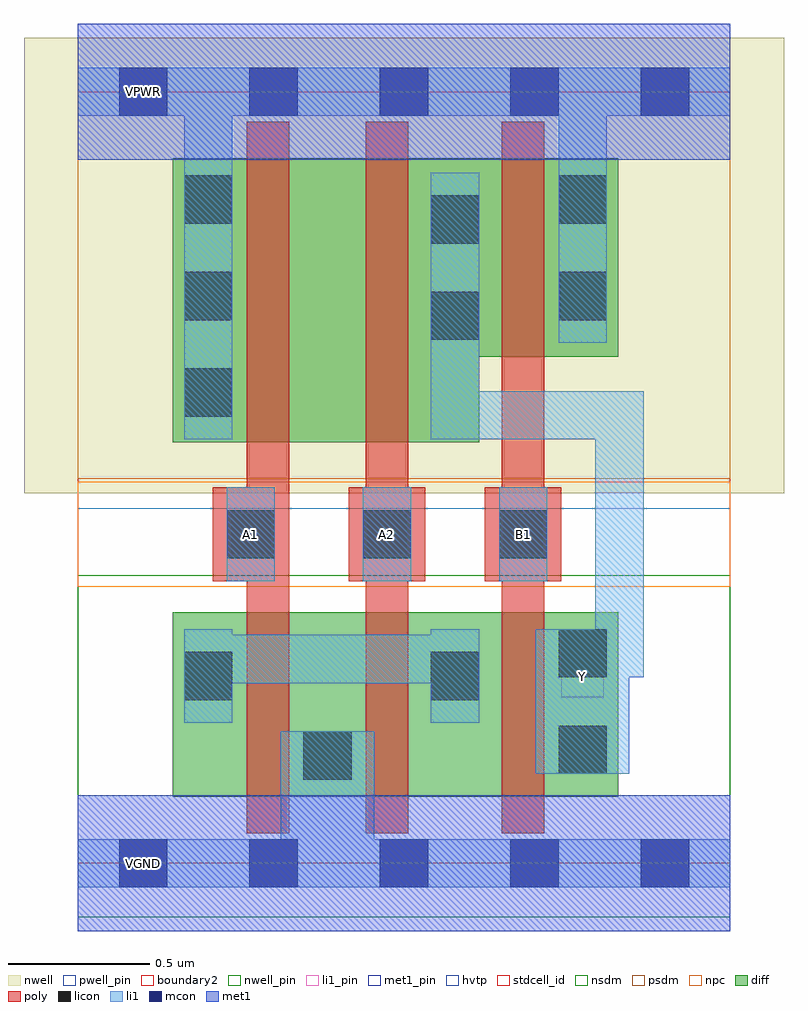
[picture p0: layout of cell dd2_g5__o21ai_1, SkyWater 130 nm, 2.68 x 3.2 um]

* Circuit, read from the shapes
.subckt dd2_g5__o21ai_1 A1 A2 B1 VGND VNB VPB VPWR Y
XM1 VGND A1 n1 VNB sky130_fd_pr__nfet_01v8 w=0.65 l=0.15
XM2 n1 A2 VGND VNB sky130_fd_pr__nfet_01v8 w=0.65 l=0.15
XM3 Y B1 n1 VNB sky130_fd_pr__nfet_01v8 w=0.65 l=0.15
XM4 n2 A1 VPWR VPB sky130_fd_pr__pfet_01v8_hvt w=1 l=0.15
XM5 Y A2 n2 VPB sky130_fd_pr__pfet_01v8_hvt w=1 l=0.15
XM6 VPWR B1 Y VPB sky130_fd_pr__pfet_01v8_hvt w=0.7 l=0.15
.ends

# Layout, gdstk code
import gdstk
lib = gdstk.Library(unit=1e-6, precision=1e-09)
def R(c, l, rs):  # rectangles x0, y0, x1, y1
    for r in rs: c.add(gdstk.rectangle(r[:2], r[2:], *l))
def A(c, l, x, y, w, h, nx, ny, dx, dy):  # array of equal rectangles
    R(c, l, [(x+i*dx, y+j*dy, x+i*dx+w, y+j*dy+h) for i in range(nx) for j in range(ny)])
nwell_pin = (64, 16)
nwell = (64, 20)
diff = (65, 20)
poly = (66, 20)
licon = (66, 44)
li1_pin = (67, 16)
li1 = (67, 20)
mcon = (67, 44)
met1_pin = (68, 16)
met1 = (68, 20)
hvtp = (78, 44)
stdcell_id = (81, 4)
nsdm = (93, 44)
psdm = (94, 20)
npc = (95, 20)
pwell_pin = (122, 16)
boundary2 = (236, 0)

dd2_g5__o21ai_1 = lib.new_cell('dd2_g5__o21ai_1')
R(dd2_g5__o21ai_1, nwell_pin, [(0.145,2.635,0.315,2.805)])
R(dd2_g5__o21ai_1, nwell, [(-0.19,1.305,2.49,2.91)])
R(dd2_g5__o21ai_1, diff, [(0.335,0.235,1.09,0.885), (0.67,0.235,1.57,0.885), (1.09,0.235,1.905,0.885), (0.335,1.485,1.09,2.485), (0.67,1.485,1.415,2.485), (1.09,1.785,1.905,2.485)])
A(dd2_g5__o21ai_1, poly, 0.475, 0.995, 0.27, 0.33, 3, 1, 0.48, 0)
R(dd2_g5__o21ai_1, poly, [(0.595,0.105,0.745,2.615), (1.015,0.105,1.165,2.615), (1.495,0.105,1.645,2.615)])
A(dd2_g5__o21ai_1, licon, 0.525, 1.075, 0.17, 0.17, 3, 1, 0.48, 0)
A(dd2_g5__o21ai_1, licon, 0.375, 1.575, 0.17, 0.17, 1, 3, 0, 0.34)
R(dd2_g5__o21ai_1, licon, [(0.795,0.295,0.965,0.465), (1.695,0.315,1.865,0.485), (0.375,0.575,0.545,0.745), (1.245,0.575,1.415,0.745), (1.695,0.655,1.865,0.825), (1.245,1.845,1.415,2.015), (1.695,1.915,1.865,2.085), (1.245,2.185,1.415,2.355), (1.695,2.255,1.865,2.425)])
A(dd2_g5__o21ai_1, li1_pin, 0.535, 1.085, 0.15, 0.15, 3, 1, 0.48, 0)
R(dd2_g5__o21ai_1, li1_pin, [(0.145,-0.085,0.315,0.085), (1.705,0.585,1.855,0.735), (0.145,2.635,0.315,2.805)])
A(dd2_g5__o21ai_1, li1, 0.525, 0.995, 0.17, 0.33, 3, 1, 0.48, 0)
R(dd2_g5__o21ai_1, li1, [(0,-0.085,2.3,0.085), (0.715,0.085,1.045,0.465), (1.615,0.315,1.945,0.655), (0.375,0.495,0.545,0.635), (1.245,0.495,1.415,0.635), (0.375,0.635,1.415,0.805), (1.615,0.655,1.995,0.825), (0.375,0.805,0.545,0.825), (1.245,0.805,1.415,0.825), (1.825,0.825,1.995,1.495), (0.375,1.495,0.545,2.635), (1.245,1.495,1.995,1.665), (1.245,1.665,1.415,2.435), (1.695,1.835,1.865,2.635), (0,2.635,2.3,2.805)])
A(dd2_g5__o21ai_1, mcon, 0.145, -0.085, 0.17, 0.17, 5, 2, 0.46, 2.72)
R(dd2_g5__o21ai_1, met1_pin, [(0.145,-0.085,0.315,0.085), (0.145,2.635,0.315,2.805)])
R(dd2_g5__o21ai_1, met1, [(0,-0.24,2.3,0.24), (0,2.48,2.3,2.96)])
R(dd2_g5__o21ai_1, hvtp, [(0,1.25,2.3,2.72)])
R(dd2_g5__o21ai_1, stdcell_id, [(0,0,2.3,2.72)])
R(dd2_g5__o21ai_1, nsdm, [(0,-0.19,2.3,1.015)])
R(dd2_g5__o21ai_1, psdm, [(0,1.355,2.3,2.91)])
R(dd2_g5__o21ai_1, npc, [(0,0.975,2.3,1.345)])
R(dd2_g5__o21ai_1, pwell_pin, [(0.145,-0.085,0.315,0.085)])
R(dd2_g5__o21ai_1, boundary2, [(0,0,2.3,2.72)])
dd2_g5__o21ai_1.add(gdstk.Label('VPWR', (0.23,2.72), layer=68, texttype=5))
dd2_g5__o21ai_1.add(gdstk.Label('VGND', (0.23,0), layer=68, texttype=5))
dd2_g5__o21ai_1.add(gdstk.Label('VPWR', (0.23,2.72), layer=67, texttype=5))
dd2_g5__o21ai_1.add(gdstk.Label('VGND', (0.23,0), layer=67, texttype=5))
dd2_g5__o21ai_1.add(gdstk.Label('A1', (0.61,1.16), layer=67, texttype=5))
dd2_g5__o21ai_1.add(gdstk.Label('A2', (1.09,1.16), layer=67, texttype=5))
dd2_g5__o21ai_1.add(gdstk.Label('B1', (1.57,1.16), layer=67, texttype=5))
dd2_g5__o21ai_1.add(gdstk.Label('Y', (1.78,0.66), layer=67, texttype=5))
dd2_g5__o21ai_1.add(gdstk.Label('VPB', (0.23,2.72), layer=64, texttype=5))
dd2_g5__o21ai_1.add(gdstk.Label('VNB', (0.23,0), layer=64, texttype=59))

lib.write_gds('dd2_g5__o21ai_1.gds')
